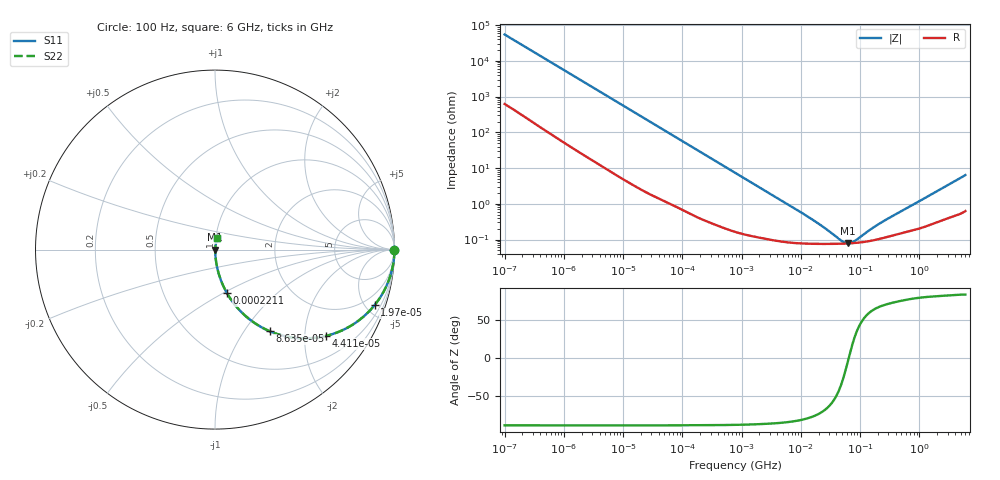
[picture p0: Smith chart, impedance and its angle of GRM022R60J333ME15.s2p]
!Murata Part Number: GRM022R60J333ME15
!These Parameters are Measured in Series Mode Connection
!Data Generated on Mar 30, 2021
!  o--ll--o
!Port1  Port2
!  o------o
!Operation Temp=25[degC], DC Bias Voltage=0[V]
!Freq. Start=100[Hz] Stop=6[GHz] 401[Steps]
# Hz S RI R 50
!Freq.(Hz) S11(Real) S11(Imag) S21(Real) S21(Imag) S12(Real) S12(Imag) S22(Real) S22(Imag)
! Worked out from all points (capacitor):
!   401 points, 100 Hz to 6 GHz, reference 50 ohm
!   read as one part in series: C = 29.1 nF near 109 Hz
!   lowest |Z| = 78 mohm at 62.33 MHz (marker M1)
!   series resonance near 64.33 MHz, so ESL is about 210 pH
!   S11 on the Smith chart (normalised r, x): 100 Hz: open; 19.7 kHz: 1.05, -5.72; 44.11 kHz: 1.03, -2.56; 86.35 kHz: 1.02, -1.32; 221.1 kHz: 1.01, -0.52; 6 GHz: 1.01, +0.13
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100  1 -0.00183  2.42e-05 0.00183  2.42e-05 0.00183  1 -0.00183
2008  0.9984 -0.036  0.00162 0.036  0.00162 0.036  0.9984 -0.036
7036  0.9834 -0.1234  0.0166 0.1234  0.0166 0.1234  0.9834 -0.1234
12592  0.9505 -0.2126  0.0495 0.2126  0.0495 0.2126  0.9505 -0.2126
19704  0.8888 -0.31  0.1112 0.31  0.1112 0.31  0.8888 -0.31
28191  0.798 -0.3969  0.202 0.3969  0.202 0.3969  0.798 -0.3969
40335  0.6611 -0.4684  0.3389 0.4684  0.3389 0.4684  0.6611 -0.4684
44113  0.6206 -0.4802  0.3794 0.4802  0.3794 0.4802  0.6206 -0.4802
60352  0.469 -0.4936  0.531 0.4936  0.531 0.4936  0.469 -0.4936
86348  0.3042 -0.4543  0.6958 0.4543  0.6958 0.4543  0.3042 -0.4543
135116  0.1541 -0.3549  0.8459 0.3549  0.8459 0.3549  0.1541 -0.3549
221108  0.0656 -0.2408  0.9344 0.2408  0.9344 0.2408  0.0656 -0.2408
395726  0.0229 -0.1414  0.9771 0.1414  0.9771 0.1414  0.0229 -0.1414
774597  0.00713 -0.0738  0.9929 0.0738  0.9929 0.0738  0.00713 -0.0738
2481164  0.0016 -0.0234  0.9984 0.0234  0.9984 0.0234  0.0016 -0.0234
1.555665e7  0.000772 -0.00356  0.9992 0.00356  0.9992 0.00356  0.000772 -0.00356
4.764863e7  0.000764 -0.000556  0.9992 0.000556  0.9992 0.000556  0.000764 -0.000556
6.233367e7  0.000777 -5.7e-05  0.9992 5.7e-05  0.9992 5.7e-05  0.000777 -5.7e-05
8.154455e7  0.0008 0.000434  0.9992 -0.000434  0.9992 -0.000434  0.0008 0.000434
1.669249e8  0.000951 0.00194  0.999 -0.00194  0.999 -0.00194  0.000951 0.00194
3.124326e8  0.00124 0.00386  0.9988 -0.00386  0.9988 -0.00386  0.00124 0.00386
6e9  0.0102 0.0624  0.9898 -0.0624  0.9898 -0.0624  0.0102 0.0624
